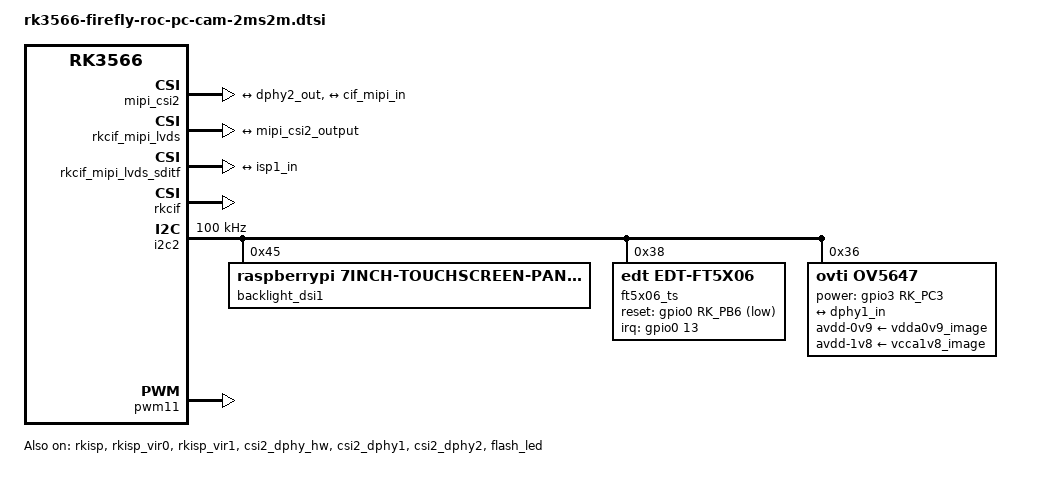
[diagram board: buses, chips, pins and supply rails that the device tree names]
// SPDX-License-Identifier: (GPL-2.0+ OR MIT)
/*
 * Copyright (c) 2020 Rockchip Electronics Co., Ltd.
 *
 */

&can2 {
	status = "disabled";
};

&rkisp {
	status = "okay";
};

&rkisp_mmu {
	status = "okay";
};

&rkisp_vir0 {
	status = "okay";
	port {
		#address-cells = <1>;
		#size-cells = <0>;

		isp0_in: endpoint@0 {
			reg = <0>;
			remote-endpoint = <&dphy1_out>;
		};
	};
};

&rkisp_vir1 {
	status = "okay";
	port {
		#address-cells = <1>;
		#size-cells = <0>;

		isp1_in: endpoint@0 {
			reg = <0>;
			remote-endpoint = <&mipi_lvds_sditf>;
		};
	};
};

&csi2_dphy_hw {
	status = "okay";
};

&csi2_dphy0 {
	status = "disabled";
};

&csi2_dphy1 {
	status = "okay";
	/*
	 * dphy1 only used for split mode,
	 * can be used concurrently with dphy2
	 * full mode and split mode are mutually exclusive
	 */
	ports {
		#address-cells = <1>;
		#size-cells = <0>;

		port@0 {
			reg = <0>;
			#address-cells = <1>;
			#size-cells = <0>;

			dphy1_in: endpoint@1 {
				reg = <1>;
				remote-endpoint = <&ov5647_out>;
				data-lanes = <1 2>;
			};
		};

		port@1 {
			reg = <1>;
			#address-cells = <1>;
			#size-cells = <0>;

			dphy1_out: endpoint@1 {
				reg = <1>;
				remote-endpoint = <&isp0_in>;
			};
		};
	};
};

&csi2_dphy2 {
	status = "okay";
	/*
	 * dphy2 only used for split mode,
	 * can be used concurrently with dphy1
	 * full mode and split mode are mutually exclusive
	 */
	ports {
		#address-cells = <1>;
		#size-cells = <0>;

		port@0 {
			reg = <0>;
			#address-cells = <1>;
			#size-cells = <0>;

			dphy2_in: endpoint@1 {
				reg = <1>;
				//remote-endpoint = <&gc2093_out>;
				data-lanes = <1 2>;
			};
		};

		port@1 {
			reg = <1>;
			#address-cells = <1>;
			#size-cells = <0>;

			dphy2_out: endpoint@1 {
				reg = <1>;
				remote-endpoint = <&mipi_csi2_input>;
			};
		};
	};
};

&mipi_csi2 {
    status = "okay";

    ports {
        #address-cells = <1>;
        #size-cells = <0>;

        port@0 {
            reg = <0>;
            #address-cells = <1>;
            #size-cells = <0>;

            mipi_csi2_input: endpoint@1 {
                    reg = <1>;
                    remote-endpoint = <&dphy2_out>;
                    data-lanes = <1 2>;
            };
        };

        port@1 {
            reg = <1>;
            #address-cells = <1>;
            #size-cells = <0>;

            mipi_csi2_output: endpoint@0 {
                    reg = <0>;
                    remote-endpoint = <&cif_mipi_in>;
                    data-lanes = <1 2>;
            };
        };
    };
};

&rkcif_mipi_lvds {
    status = "okay";
    port {
        cif_mipi_in: endpoint {
            remote-endpoint = <&mipi_csi2_output>;
            data-lanes = <1 2>;
        };
    };
};

&rkcif_mipi_lvds_sditf {
    status = "okay";
    port {
        mipi_lvds_sditf: endpoint {
            remote-endpoint = <&isp1_in>;
            data-lanes = <1 2>;
        };
    };
};

&rkcif_mmu {
    status = "okay";
};

&rkcif {
    status = "okay";
};

&i2c2 {
	status = "okay";
	pinctrl-names = "default";
	clock-frequency = <100000>;
	pinctrl-0 = <&i2c2m1_xfer>;
	avdd-1v8-supply = <&vcca1v8_image>;
	avdd-0v9-supply = <&vdda0v9_image>;
	power-domains = <&power RK3568_PD_VI>;
	#address-cells = <1>;
	#size-cells = <0>;
	backlight_dsi1:backlight@45{ /*背光地址0x45*/
		compatible = "raspberrypi,7inch-touchscreen-panel-regulator";
		reg = <0x45>;
		status = "okay";
    };
	ft5x06_ts@38 { /*触屏地址0x38*/
		compatible = "edt,edt-ft5x06", "ft5x06";
		reg = <0x38>;
		interrupt-parent = <&gpio0>;
		interrupts = <13 IRQ_TYPE_LEVEL_LOW>;
		power-domains = <&power RK3568_PD_VI>;
		reset-gpios = <&gpio0 RK_PB6 GPIO_ACTIVE_LOW>;
		touchscreen-size-x = < 800 >;
		touchscreen-size-y = < 480 >;
		status = "okay";
	};
/*ov5647地址0x36*/
	ov5647@36 {
		status = "okay";
		compatible = "ovti,ov5647";
		reg = <0x36>;
		clocks = <&cru CPLL_25M>;
		//pinctrl-0 = <&cam_clkout0>;//double clk
		clock-names = "xvclk";
		pinctrl-names = "default";
		pinctrl-0 = <&refclk_pins>; //怎么选？
		power-domains = <&power RK3568_PD_VI>;
		avdd-0v9-supply = <&vdda0v9_image>;
		avdd-1v8-supply = <&vcca1v8_image>; /* reset-gpio gpio4 b1 pwdn-gpios gpio4 c5 */
		power-gpios = <&gpio3 RK_PC3 GPIO_ACTIVE_HIGH>;
		/*power-domains = <&power RK3568_PD_VI>;*/
		/*pwdn-gpios = <&gpio3 RK_PC3 GPIO_ACTIVE_HIGH>; reset-gpios  gpios? pwdn-gpios? power-gpios = <&gpio3 RK_PC3 GPIO_ACTIVE_HIGH>; 驱动没有操作IO需要修改*/
		port {
			ov5647_out: endpoint {
				remote-endpoint = <&dphy1_in>;//double use dphy1_in single use mipi_in_ucam3
                data-lanes = <1 2>;
            };
        };
	};
};


&flash_led {
	status = "okay";
};

&vcc_camera {
	status = "okay";
	gpio = <&gpio4 RK_PC1 GPIO_ACTIVE_HIGH>;
	/delete-property/ pinctrl-names;
	/delete-property/ pinctrl-0;
};

&pwm11 {
	status = "okay";
	pinctrl-0 = <&pwm11m1_pins>;
};
